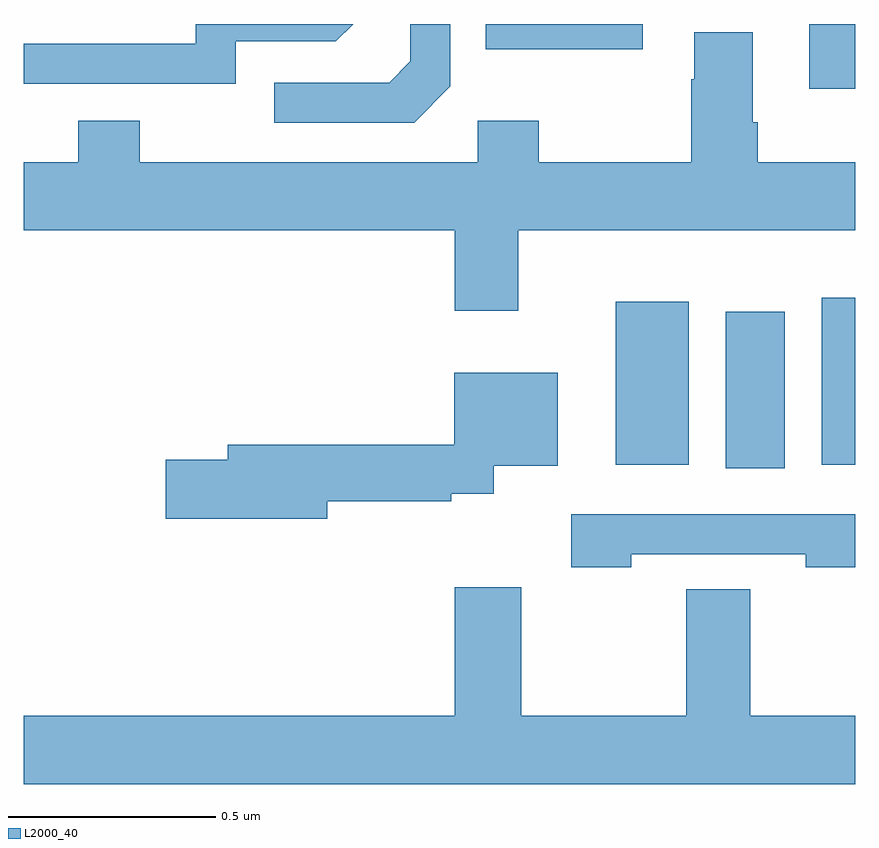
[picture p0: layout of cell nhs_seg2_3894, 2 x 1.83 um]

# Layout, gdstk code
import gdstk
lib = gdstk.Library(unit=1e-6, precision=1e-09)
def R(c, l, rs):  # rectangles x0, y0, x1, y1
    for r in rs: c.add(gdstk.rectangle(r[:2], r[2:], *l))
def P(c, l, *ps):  # polygons
    for p in ps: c.add(gdstk.Polygon(p, *l))
L2000_40 = (2000, 40)

nhs_seg2_3894 = lib.new_cell('nhs_seg2_3894')
R(nhs_seg2_3894, L2000_40, [(160.688,645.732,160.831,646.108), (160.424,645.74,160.6,646.132), (160.919,645.74,161,646.141), (160.889,646.644,161,646.8), (160.111,646.739,160.489,646.8)])
P(nhs_seg2_3894, L2000_40, [(160.026,646.65),(160.026,646.8),(159.93,646.8),(159.93,646.71),(159.879,646.659),(159.603,646.659),(159.603,646.563),(159.939,646.563)],
  [(159.51,646.758),(159.75,646.758),(159.792,646.8),(159.414,646.8),(159.414,646.752),(159,646.752),(159,646.656),(159.51,646.656)],
  [(160.189,646.304),(161,646.304),(161,646.468),(160.766,646.468),(160.766,646.564),(160.753,646.564),(160.753,646.78),(160.613,646.78),(160.613,646.667),(160.606,646.667),(160.606,646.468),(160.239,646.468),(160.239,646.567),(160.092,646.567),(160.092,646.468),(159.279,646.468),(159.279,646.567),(159.131,646.567),(159.131,646.468),(159,646.468),(159,646.304),(160.037,646.304),(160.037,646.11),(160.189,646.11)],
  [(159.73,645.652),(160.028,645.652),(160.028,645.67),(160.131,645.67),(160.131,645.737),(160.285,645.737),(160.285,645.961),(160.035,645.961),(160.035,645.788),(159.491,645.788),(159.491,645.752),(159.342,645.752),(159.342,645.61),(159.73,645.61)],
  [(160.461,645.525),(160.881,645.525),(160.881,645.493),(161,645.493),(161,645.621),(160.317,645.621),(160.317,645.493),(160.461,645.493)],
  [(161,645.136),(160.748,645.136),(160.748,645.44),(160.594,645.44),(160.594,645.136),(160.197,645.136),(160.197,645.445),(160.037,645.445),(160.037,645.136),(159,645.136),(159,644.972),(161,644.972)])

lib.write_gds('nhs_seg2_3894.gds')
